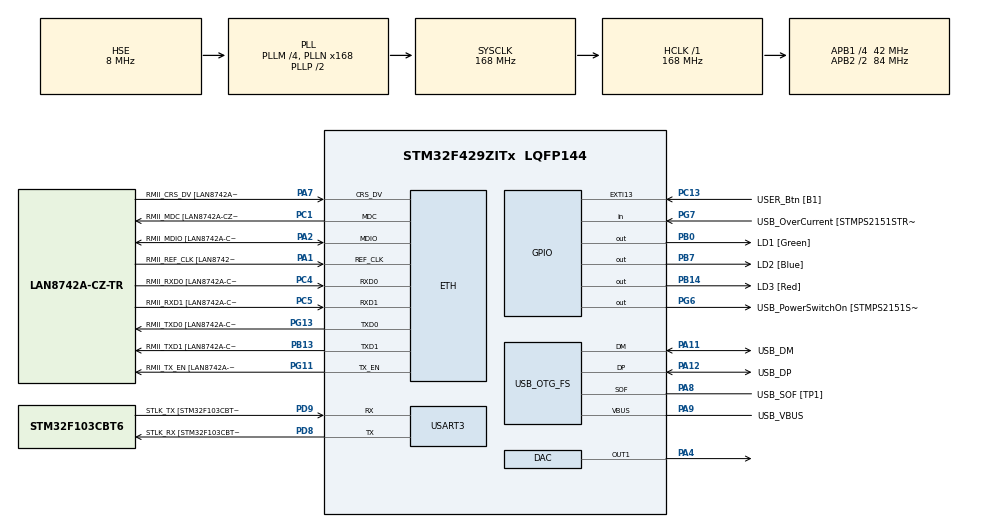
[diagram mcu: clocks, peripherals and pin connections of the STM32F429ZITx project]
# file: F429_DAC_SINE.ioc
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DAC.DAC_Trigger=DAC_TRIGGER_T6_TRGO
Dma.DAC1.0.Direction=DMA_MEMORY_TO_PERIPH
Dma.DAC1.0.FIFOMode=DMA_FIFOMODE_DISABLE
Dma.DAC1.0.Instance=DMA1_Stream5
Dma.DAC1.0.MemDataAlignment=DMA_MDATAALIGN_HALFWORD
Dma.DAC1.0.MemInc=DMA_MINC_ENABLE
Dma.DAC1.0.Mode=DMA_CIRCULAR
Dma.DAC1.0.PeriphDataAlignment=DMA_PDATAALIGN_HALFWORD
Dma.DAC1.0.PeriphInc=DMA_PINC_DISABLE
Dma.DAC1.0.Priority=DMA_PRIORITY_HIGH
Dma.Request0=DAC1
ETH.MediaInterface=HAL_ETH_RMII_MODE
ETH.PHY_Name=LAN8742A_PHY_ADDRESS
ETH.PHY_Value=0
ETH.PhyAddress=0
Mcu.Family=STM32F4
Mcu.Name=STM32F429ZITx
Mcu.Package=LQFP144
NVIC.DMA1_Stream5_IRQn=true\:0\:0\:false\:false\:true\:false\:true\:true
NVIC.PriorityGroup=NVIC_PRIORITYGROUP_4
PA1.GPIO_Label=RMII_REF_CLK [LAN8742A-CZ-TR_REFCLK0]
PA1.Mode=RMII
PA1.Signal=ETH_REF_CLK
PA10.GPIO_Label=USB_ID
PA10.Signal=USB_OTG_FS_ID
PA11.GPIO_Label=USB_DM
PA11.Mode=Device_Only
PA11.Signal=USB_OTG_FS_DM
PA12.GPIO_Label=USB_DP
PA12.Mode=Device_Only
PA12.Signal=USB_OTG_FS_DP
PA13.GPIO_Label=TMS
PA13.Mode=Serial_Wire
PA13.Signal=SYS_JTMS-SWDIO
PA14.GPIO_Label=TCK
PA14.Mode=Serial_Wire
PA14.Signal=SYS_JTCK-SWCLK
PA2.GPIO_Label=RMII_MDIO [LAN8742A-CZ-TR_MDIO]
PA2.Mode=RMII
PA2.Signal=ETH_MDIO
PA4.Signal=COMP_DAC1_group
PA7.GPIO_Label=RMII_CRS_DV [LAN8742A-CZ-TR_CRS_DV]
PA7.Mode=RMII
PA7.Signal=ETH_CRS_DV
PA8.GPIO_Label=USB_SOF [TP1]
PA8.Mode=Activate_SOF_FS
PA8.Signal=USB_OTG_FS_SOF
PA9.GPIO_Label=USB_VBUS
PA9.Mode=Activate_VBUS
PA9.Signal=USB_OTG_FS_VBUS
PB0.GPIO_Label=LD1 [Green]
PB0.Signal=GPIO_Output
PB13.GPIO_Label=RMII_TXD1 [LAN8742A-CZ-TR_TXD1]
PB13.Mode=RMII
PB13.Signal=ETH_TXD1
PB14.GPIO_Label=LD3 [Red]
PB14.Signal=GPIO_Output
PB7.GPIO_Label=LD2 [Blue]
PB7.Signal=GPIO_Output
PC1.GPIO_Label=RMII_MDC [LAN8742A-CZ-TR_MDC]
PC1.Mode=RMII
PC1.Signal=ETH_MDC
PC13.GPIO_Label=USER_Btn [B1]
PC13.Signal=GPXTI13
PC14/OSC32_IN.Mode=LSE-External-Oscillator
PC14/OSC32_IN.Signal=RCC_OSC32_IN
PC15/OSC32_OUT.Mode=LSE-External-Oscillator
PC15/OSC32_OUT.Signal=RCC_OSC32_OUT
PC4.GPIO_Label=RMII_RXD0 [LAN8742A-CZ-TR_RXD0]
PC4.Mode=RMII
PC4.Signal=ETH_RXD0
PC5.GPIO_Label=RMII_RXD1 [LAN8742A-CZ-TR_RXD1]
PC5.Mode=RMII
PC5.Signal=ETH_RXD1
PD8.GPIO_Label=STLK_RX [STM32F103CBT6_PA3]
PD8.Mode=Asynchronous
PD8.Signal=USART3_TX
PD9.GPIO_Label=STLK_TX [STM32F103CBT6_PA2]
PD9.Mode=Asynchronous
PD9.Signal=USART3_RX
PG11.GPIO_Label=RMII_TX_EN [LAN8742A-CZ-TR_TXEN]
PG11.Mode=RMII
PG11.Signal=ETH_TX_EN
PG13.GPIO_Label=RMII_TXD0 [LAN8742A-CZ-TR_TXD0]
PG13.Mode=RMII
PG13.Signal=ETH_TXD0
PG6.GPIO_Label=USB_PowerSwitchOn [STMPS2151STR_EN]
PG6.Signal=GPIO_Output
PG7.GPIO_Label=USB_OverCurrent [STMPS2151STR_FAULT]
PG7.Signal=GPIO_Input
PH0/OSC_IN.GPIO_Label=MCO [STM32F103CBT6_PA8]
PH0/OSC_IN.Mode=HSE-External-Clock-Source
PH0/OSC_IN.Signal=RCC_OSC_IN
PH1/OSC_OUT.Mode=HSE-External-Clock-Source
PH1/OSC_OUT.Signal=RCC_OSC_OUT
ProjectManager.HeapSize=0x200
ProjectManager.StackSize=0x400
ProjectManager.TargetToolchain=STM32CubeIDE
RCC.48MHZClocksFreq_Value=48000000
RCC.AHBFreq_Value=168000000
RCC.APB1CLKDivider=RCC_HCLK_DIV4
RCC.APB1Freq_Value=42000000
RCC.APB1TimFreq_Value=84000000
RCC.APB2CLKDivider=RCC_HCLK_DIV2
RCC.APB2Freq_Value=84000000
RCC.APB2TimCLKDivider=2
RCC.APB2TimFreq_Value=168000000
RCC.CortexFreq_Value=168000000
RCC.HCLKFreq_Value=168000000
RCC.HSE_VALUE=8000000
RCC.HSI_VALUE=16000000
RCC.PLLM=4
RCC.PLLMUL=RCC_PLL_MUL9
RCC.PLLN=168
RCC.PLLQ=7
RCC.PRESCALERUSB=RCC_USBCLKSOURCE_PLL_DIV1_5
RCC.SYSCLKFreq_VALUE=168000000
RCC.SYSCLKSource=RCC_SYSCLKSOURCE_PLLCLK
RCC.SYSCLKSourceVirtual=RCC_SYSCLKSOURCE_PLLCLK
RCC.USBFreq_Value=48000000
RCC.VCOOutputFreq_Value=336000000
SH.COMP_DAC1_group.0=DAC_OUT1,DAC_OUT1
TIM6.Period=100
TIM6.TIM_MasterOutputTrigger=TIM_TRGO_UPDATE
USART3.VirtualMode=VM_ASYNC
USB_OTG_FS.VirtualMode=Device_Only
VP_TIM6_VS_ClockSourceINT.Mode=Enable_Timer
board=NUCLEO-F429ZI

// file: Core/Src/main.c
/* USER CODE BEGIN Header */
/* F429_DAC_SINE */
/**
  ******************************************************************************
  * @file           : main.c
  * @brief          : Main program body
  ******************************************************************************
  * @attention
  *
  * Copyright (c) 2026 STMicroelectronics.
  * All rights reserved.
  *
  * This software is licensed under terms that can be found in the LICENSE file
  * in the root directory of this software component.
  * If no LICENSE file comes with this software, it is provided AS-IS.
  *
  ******************************************************************************
  */
/* USER CODE END Header */
#include "main.h"
#include "string.h"

ETH_TxPacketConfig TxConfig;
ETH_DMADescTypeDef  DMARxDscrTab[ETH_RX_DESC_CNT]; /* Ethernet Rx DMA Descriptors */
ETH_DMADescTypeDef  DMATxDscrTab[ETH_TX_DESC_CNT]; /* Ethernet Tx DMA Descriptors */

DAC_HandleTypeDef hdac;
DMA_HandleTypeDef hdma_dac1;

ETH_HandleTypeDef heth;

TIM_HandleTypeDef htim6;

UART_HandleTypeDef huart3;

PCD_HandleTypeDef hpcd_USB_OTG_FS;

/* USER CODE BEGIN PV */
#define TABLE_SIZE 64U
#define TIM6_CLK_HZ 84000000UL
#define FOUT_HZ 31000UL				// change to 31 , 45 , 46 kHz

static const uint16_t sineTable[TABLE_SIZE]={
  2048,2248,2447,2642,2831,3013,3185,3346,
  3495,3630,3750,3853,3939,4006,4056,4086,
  4095,4086,4056,4006,3939,3853,3750,3630,
  3495,3346,3185,3013,2831,2642,2447,2248,
  2048,1847,1648,1453,1264,1082, 910, 749,
   600, 465, 345, 242, 156,  89,  39,   9,
	 0,   9,  39,  89, 156, 242, 345, 465,
   600, 749, 910,1082,1264,1453,1648,1847
};
/* USER CODE END PV */

void SystemClock_Config(void);
static void MX_GPIO_Init(void);
static void MX_DMA_Init(void);
static void MX_DAC_Init(void);
static void MX_ETH_Init(void);
static void MX_TIM6_Init(void);
static void MX_USART3_UART_Init(void);
static void MX_USB_OTG_FS_PCD_Init(void);

int main(void)
{

  /* MCU Configuration--------------------------------------------------------*/

  /* Reset of all peripherals, Initializes the Flash interface and the Systick. */
  HAL_Init();

  /* Configure the system clock */
  SystemClock_Config();

  /* Initialize all configured peripherals */
  MX_GPIO_Init();
  MX_DMA_Init();
  MX_DAC_Init();
  MX_ETH_Init();
  MX_TIM6_Init();
  MX_USART3_UART_Init();
  MX_USB_OTG_FS_PCD_Init();
  /* USER CODE BEGIN 2 */

  // DAC + DMA
  HAL_DAC_Start_DMA(
		  &hdac,
		  DAC_CHANNEL_1,
		  (uint32_t*)sineTable,
		  TABLE_SIZE,
		  DAC_ALIGN_12B_R
  );

  //  calculate TIM6 ARR
  // f_update = FOUT * TABLE_SIZE
  uint32_t f_update = FOUT_HZ * TABLE_SIZE;
  uint32_t arr = (TIM6_CLK_HZ / f_update) - 1;

  __HAL_TIM_SET_AUTORELOAD(&htim6, arr);
  __HAL_TIM_SET_COUNTER(&htim6, 0);

  // Start TIM6
  HAL_TIM_Base_Start(&htim6);

  /* USER CODE END 2 */

  /* Infinite loop */
  while (1)
  {

  }
}

void SystemClock_Config(void)
{
  RCC_OscInitTypeDef RCC_OscInitStruct = {0};
  RCC_ClkInitTypeDef RCC_ClkInitStruct = {0};

  /** Configure the main internal regulator output voltage
  */
  __HAL_RCC_PWR_CLK_ENABLE();
  __HAL_PWR_VOLTAGESCALING_CONFIG(PWR_REGULATOR_VOLTAGE_SCALE1);

  /** Initializes the RCC Oscillators according to the specified parameters
  * in the RCC_OscInitTypeDef structure.
  */
  RCC_OscInitStruct.OscillatorType = RCC_OSCILLATORTYPE_HSE;
  RCC_OscInitStruct.HSEState = RCC_HSE_BYPASS;
  RCC_OscInitStruct.PLL.PLLState = RCC_PLL_ON;
  RCC_OscInitStruct.PLL.PLLSource = RCC_PLLSOURCE_HSE;
  RCC_OscInitStruct.PLL.PLLM = 4;
  RCC_OscInitStruct.PLL.PLLN = 168;
  RCC_OscInitStruct.PLL.PLLP = RCC_PLLP_DIV2;
  RCC_OscInitStruct.PLL.PLLQ = 7;
  if (HAL_RCC_OscConfig(&RCC_OscInitStruct) != HAL_OK)
  {
    Error_Handler();
  }

  /** Initializes the CPU, AHB and APB buses clocks
  */
  RCC_ClkInitStruct.ClockType = RCC_CLOCKTYPE_HCLK|RCC_CLOCKTYPE_SYSCLK
                              |RCC_CLOCKTYPE_PCLK1|RCC_CLOCKTYPE_PCLK2;
  RCC_ClkInitStruct.SYSCLKSource = RCC_SYSCLKSOURCE_PLLCLK;
  RCC_ClkInitStruct.AHBCLKDivider = RCC_SYSCLK_DIV1;
  RCC_ClkInitStruct.APB1CLKDivider = RCC_HCLK_DIV4;
  RCC_ClkInitStruct.APB2CLKDivider = RCC_HCLK_DIV2;

  if (HAL_RCC_ClockConfig(&RCC_ClkInitStruct, FLASH_LATENCY_5) != HAL_OK)
  {
    Error_Handler();
  }
}

static void MX_DAC_Init(void)
{

  DAC_ChannelConfTypeDef sConfig = {0};

  /** DAC Initialization
  */
  hdac.Instance = DAC;
  if (HAL_DAC_Init(&hdac) != HAL_OK)
  {
    Error_Handler();
  }

  /** DAC channel OUT1 config
  */
  sConfig.DAC_Trigger = DAC_TRIGGER_T6_TRGO;
  sConfig.DAC_OutputBuffer = DAC_OUTPUTBUFFER_ENABLE;
  if (HAL_DAC_ConfigChannel(&hdac, &sConfig, DAC_CHANNEL_1) != HAL_OK)
  {
    Error_Handler();
  }

}

static void MX_ETH_Init(void)
{

   static uint8_t MACAddr[6];

  heth.Instance = ETH;
  MACAddr[0] = 0x00;
  MACAddr[1] = 0x80;
  MACAddr[2] = 0xE1;
  MACAddr[3] = 0x00;
  MACAddr[4] = 0x00;
  MACAddr[5] = 0x00;
  heth.Init.MACAddr = &MACAddr[0];
  heth.Init.MediaInterface = HAL_ETH_RMII_MODE;
  heth.Init.TxDesc = DMATxDscrTab;
  heth.Init.RxDesc = DMARxDscrTab;
  heth.Init.RxBuffLen = 1524;

  if (HAL_ETH_Init(&heth) != HAL_OK)
  {
    Error_Handler();
  }

  memset(&TxConfig, 0 , sizeof(ETH_TxPacketConfig));
  TxConfig.Attributes = ETH_TX_PACKETS_FEATURES_CSUM | ETH_TX_PACKETS_FEATURES_CRCPAD;
  TxConfig.ChecksumCtrl = ETH_CHECKSUM_IPHDR_PAYLOAD_INSERT_PHDR_CALC;
  TxConfig.CRCPadCtrl = ETH_CRC_PAD_INSERT;

}

static void MX_TIM6_Init(void)
{

  TIM_MasterConfigTypeDef sMasterConfig = {0};

  htim6.Instance = TIM6;
  htim6.Init.Prescaler = 0;
  htim6.Init.CounterMode = TIM_COUNTERMODE_UP;
  htim6.Init.Period = 100;
  htim6.Init.AutoReloadPreload = TIM_AUTORELOAD_PRELOAD_DISABLE;
  if (HAL_TIM_Base_Init(&htim6) != HAL_OK)
  {
    Error_Handler();
  }
  sMasterConfig.MasterOutputTrigger = TIM_TRGO_UPDATE;
  sMasterConfig.MasterSlaveMode = TIM_MASTERSLAVEMODE_DISABLE;
  if (HAL_TIMEx_MasterConfigSynchronization(&htim6, &sMasterConfig) != HAL_OK)
  {
    Error_Handler();
  }

}

static void MX_USART3_UART_Init(void)
{

  huart3.Instance = USART3;
  huart3.Init.BaudRate = 115200;
  huart3.Init.WordLength = UART_WORDLENGTH_8B;
  huart3.Init.StopBits = UART_STOPBITS_1;
  huart3.Init.Parity = UART_PARITY_NONE;
  huart3.Init.Mode = UART_MODE_TX_RX;
  huart3.Init.HwFlowCtl = UART_HWCONTROL_NONE;
  huart3.Init.OverSampling = UART_OVERSAMPLING_16;
  if (HAL_UART_Init(&huart3) != HAL_OK)
  {
    Error_Handler();
  }

}

static void MX_USB_OTG_FS_PCD_Init(void)
{

  hpcd_USB_OTG_FS.Instance = USB_OTG_FS;
  hpcd_USB_OTG_FS.Init.dev_endpoints = 4;
  hpcd_USB_OTG_FS.Init.speed = PCD_SPEED_FULL;
  hpcd_USB_OTG_FS.Init.dma_enable = DISABLE;
  hpcd_USB_OTG_FS.Init.phy_itface = PCD_PHY_EMBEDDED;
  hpcd_USB_OTG_FS.Init.Sof_enable = ENABLE;
  hpcd_USB_OTG_FS.Init.low_power_enable = DISABLE;
  hpcd_USB_OTG_FS.Init.lpm_enable = DISABLE;
  hpcd_USB_OTG_FS.Init.vbus_sensing_enable = ENABLE;
  hpcd_USB_OTG_FS.Init.use_dedicated_ep1 = DISABLE;
  if (HAL_PCD_Init(&hpcd_USB_OTG_FS) != HAL_OK)
  {
    Error_Handler();
  }

}

static void MX_DMA_Init(void)
{

  /* DMA controller clock enable */
  __HAL_RCC_DMA1_CLK_ENABLE();

  /* DMA interrupt init */
  /* DMA1_Stream5_IRQn interrupt configuration */
  HAL_NVIC_SetPriority(DMA1_Stream5_IRQn, 0, 0);
  HAL_NVIC_EnableIRQ(DMA1_Stream5_IRQn);

}

static void MX_GPIO_Init(void)
{
  GPIO_InitTypeDef GPIO_InitStruct = {0};

  /* GPIO Ports Clock Enable */
  __HAL_RCC_GPIOC_CLK_ENABLE();
  __HAL_RCC_GPIOH_CLK_ENABLE();
  __HAL_RCC_GPIOA_CLK_ENABLE();
  __HAL_RCC_GPIOB_CLK_ENABLE();
  __HAL_RCC_GPIOD_CLK_ENABLE();
  __HAL_RCC_GPIOG_CLK_ENABLE();

  /*Configure GPIO pin Output Level */
  HAL_GPIO_WritePin(GPIOB, LD1_Pin|LD3_Pin|LD2_Pin, GPIO_PIN_RESET);

  /*Configure GPIO pin Output Level */
  HAL_GPIO_WritePin(USB_PowerSwitchOn_GPIO_Port, USB_PowerSwitchOn_Pin, GPIO_PIN_RESET);

  /*Configure GPIO pin : USER_Btn_Pin */
  GPIO_InitStruct.Pin = USER_Btn_Pin;
  GPIO_InitStruct.Mode = GPIO_MODE_IT_RISING;
  GPIO_InitStruct.Pull = GPIO_NOPULL;
  HAL_GPIO_Init(USER_Btn_GPIO_Port, &GPIO_InitStruct);

  /*Configure GPIO pins : LD1_Pin LD3_Pin LD2_Pin */
  GPIO_InitStruct.Pin = LD1_Pin|LD3_Pin|LD2_Pin;
  GPIO_InitStruct.Mode = GPIO_MODE_OUTPUT_PP;
  GPIO_InitStruct.Pull = GPIO_NOPULL;
  GPIO_InitStruct.Speed = GPIO_SPEED_FREQ_LOW;
  HAL_GPIO_Init(GPIOB, &GPIO_InitStruct);

  /*Configure GPIO pin : USB_PowerSwitchOn_Pin */
  GPIO_InitStruct.Pin = USB_PowerSwitchOn_Pin;
  GPIO_InitStruct.Mode = GPIO_MODE_OUTPUT_PP;
  GPIO_InitStruct.Pull = GPIO_NOPULL;
  GPIO_InitStruct.Speed = GPIO_SPEED_FREQ_LOW;
  HAL_GPIO_Init(USB_PowerSwitchOn_GPIO_Port, &GPIO_InitStruct);

  /*Configure GPIO pin : USB_OverCurrent_Pin */
  GPIO_InitStruct.Pin = USB_OverCurrent_Pin;
  GPIO_InitStruct.Mode = GPIO_MODE_INPUT;
  GPIO_InitStruct.Pull = GPIO_NOPULL;
  HAL_GPIO_Init(USB_OverCurrent_GPIO_Port, &GPIO_InitStruct);

}

void Error_Handler(void)
{
  __disable_irq();
  while (1)
  {
  }
}
